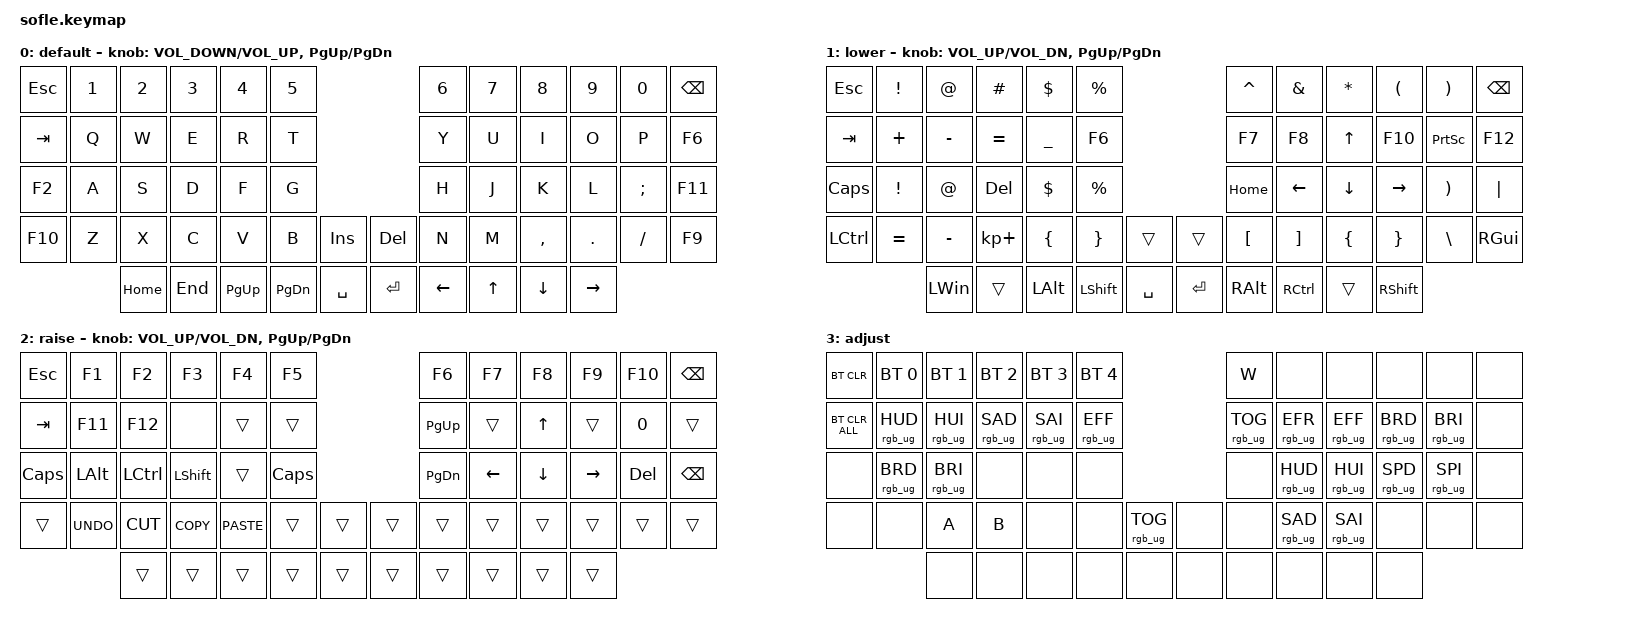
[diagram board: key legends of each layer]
/*
 * Copyright (c) 2020 The ZMK Contributors
 *
 * SPDX-License-Identifier: MIT
 */

#include <behaviors.dtsi>
#include <dt-bindings/zmk/bt.h>
#include <dt-bindings/zmk/keys.h>
#include <dt-bindings/zmk/rgb.h>

#define BASE 0
#define LOWER 1
#define RAISE 2
#define ADJUST 3

/ {
    // Activate ADJUST layer by pressing raise and lower

    conditional_layers {
        compatible = "zmk,conditional-layers";

        adjust_layer {
            if-layers = <LOWER RAISE>;
            then-layer = <ADJUST>;
        };
    };

    keymap {
        compatible = "zmk,keymap";

        default_layer {
            label = "default";

            // ------------------------------------------------------------------------------------------------------------
            // |   `   |  1  |  2  |  3   |  4   |  5   |                   |  6   |  7    |  8    |  9   |   0   |       |
            // |  ESC  |  Q  |  W  |  E   |  R   |  T   |                   |  Y   |  U    |  I    |  O   |   P   | BKSPC |
            // |  TAB  |  A  |  S  |  D   |  F   |  G   |                   |  H   |  J    |  K    |  L   |   ;   |   '   |
            // | SHIFT |  Z  |  X  |  C   |  V   |  B   |  MUTE  |  |       |  N   |  M    |  ,    |  .   |   /   | SHIFT |
            //               | GUI | ALT  | CTRL | LOWER|  ENTER |  | SPACE | RAISE| CTRL  | ALT   | GUI  |

            bindings = <
&kp ESC  &kp N1  &kp N2    &kp N3   &kp N4     &kp N5                                   &kp N6    &kp N7        &kp N8     &kp N9     &kp N0    &kp BACKSPACE
&kp TAB  &kp Q   &kp W     &kp E    &kp R      &kp T                                    &kp Y     &kp U         &kp I      &kp O      &kp P     &kp F6
&kp F2   &kp A   &kp S     &kp D    &kp F      &kp G                                    &kp H     &kp J         &kp K      &kp L      &kp SEMI  &kp F11
&kp F10  &kp Z   &kp X     &kp C    &kp V      &kp B          &kp INSERT    &kp DELETE  &kp N     &kp M         &kp COMMA  &kp DOT    &kp FSLH  &kp F9
                 &kp HOME  &kp END  &kp PG_UP  &kp PAGE_DOWN  &kp SPACE     &kp ENTER   &kp LEFT  &kp UP_ARROW  &kp DOWN   &kp RIGHT
            >;

            sensor-bindings =
                <&inc_dec_kp K_VOLUME_DOWN C_VOLUME_UP>,
                <&inc_dec_kp PG_UP PG_DN>;
        };

        lower_layer {
            label = "lower";

            // TODO: Some binds are waiting for shifted keycode support.
            // ------------------------------------------------------------------------------------------------------------
            // |       |  F1 |  F2 |  F3  |  F4  |  F5  |                   |  F6  |  F7   |  F8   |  F9  |  F10  |  F11  |
            // |   `   |  1  |  2  |  3   |  4   |  5   |                   |  6   |  7    |  8    |  9   |   0   |  F12  |
            // |       |  !  |  @  |  #   |  $   |  %   |                   |  ^   |  &    |  *    |  (   |   )   |   |   |
            // |       |  =  |  -  |  +   |  {   |  }   |        |  |       |  [   |  ]    |  ;    |  :   |   \   |       |
            //               |     |      |      |      |        |  |       |      |       |       |      |

            bindings = <
&kp ESC    &kp EXCLAMATION  &kp AT_SIGN   &kp HASH     &kp DOLLAR      &kp PERCENT                             &kp CARET      &kp AMPERSAND  &kp ASTERISK    &kp LEFT_PARENTHESIS  &kp RIGHT_PARENTHESIS  &kp BACKSPACE
&kp TAB    &kp PLUS         &kp MINUS     &kp EQUAL    &kp UNDERSCORE  &kp F6                                  &kp F7         &kp F8         &kp UP_ARROW    &kp F10               &kp PRINTSCREEN        &kp F12
&kp CAPS   &kp EXCL         &kp AT        &kp DELETE   &kp DLLR        &kp PRCNT                               &kp HOME       &kp LEFT       &kp DOWN        &kp RIGHT             &kp RPAR               &kp PIPE
&kp LCTRL  &kp EQUAL        &kp MINUS     &kp KP_PLUS  &kp LBRC        &kp RBRC        &trans       &trans     &kp LBKT       &kp RBKT       &kp LEFT_BRACE  &kp RIGHT_BRACE       &kp BSLH               &kp RIGHT_GUI
                            &kp LEFT_WIN  &trans       &kp LEFT_ALT    &kp LEFT_SHIFT  &kp SPACE    &kp ENTER  &kp RIGHT_ALT  &kp RCTRL      &trans          &kp RIGHT_SHIFT
            >;

            sensor-bindings = <&inc_dec_kp C_VOL_UP C_VOL_DN &inc_dec_kp PG_UP PG_DN>;
        };

        raise_layer {
            label = "raise";

            // ------------------------------------------------------------------------------------------------------------
            // | BTCLR | BT1  | BT2  |  BT3  |  BT4  |  BT5 |                |      |      |       |      |       |       |
            // |       | INS  | PSCR | GUI   |       |      |                | PGUP |      |   ^   |      |       |       |
            // |       | ALT  | CTRL | SHIFT |       | CAPS |                | PGDN |   <- |   v   |  ->  |  DEL  | BKSPC |
            // |       | UNDO | CUT  | COPY  | PASTE |      |      |  |      |      |      |       |      |       |       |
            //                |      |       |       |      |      |  |      |      |      |       |      |

            bindings = <
&kp ESCAPE    &kp F1      &kp F2     &kp F3      &kp F4       &kp F5                      &kp F6     &kp F7    &kp F8    &kp F9     &kp F10  &kp BACKSPACE
&kp TAB       &kp F11     &kp F12    &none       &trans       &trans                      &kp PG_UP  &trans    &kp UP    &trans     &kp N0   &trans
&kp CAPSLOCK  &kp LALT    &kp LCTRL  &kp LSHFT   &trans       &kp CLCK                    &kp PG_DN  &kp LEFT  &kp DOWN  &kp RIGHT  &kp DEL  &kp BSPC
&trans        &kp K_UNDO  &kp K_CUT  &kp K_COPY  &kp K_PASTE  &trans    &trans    &trans  &trans     &trans    &trans    &trans     &trans   &trans
                          &trans     &trans      &trans       &trans    &trans    &trans  &trans     &trans    &trans    &trans
            >;

            sensor-bindings = <&inc_dec_kp C_VOL_UP C_VOL_DN &inc_dec_kp PG_UP PG_DN>;
        };

        adjust_layer {
            // ----------------------------------------------------------------------------------------------------------------------------
            // | BTCLR  |  BT1    |  BT2    |   BT3   |   BT4   |   BT5   |                  |      |      |       |      |       |       |
            // | EXTPWR | RGB_HUD | RGB_HUI | RGB_SAD | RGB_SAI | RGB_EFF |                  |      |      |       |      |       |       |
            // |        | RGB_BRD | RGB_BRI |         |         |         |                  |      |      |       |      |       |       |
            // |        |         |         |         |         |         | RGB_TOG | |      |      |      |       |      |       |       |
            //                    |         |         |         |         |         | |      |      |      |       |      |

            label = "adjust";
            bindings = <
&bt BT_CLR      &bt BT_SEL 0     &bt BT_SEL 1     &bt BT_SEL 2     &bt BT_SEL 3     &bt BT_SEL 4                               &kp W            &none            &none            &none            &none            &none
&bt BT_CLR_ALL  &rgb_ug RGB_HUD  &rgb_ug RGB_HUI  &rgb_ug RGB_SAD  &rgb_ug RGB_SAI  &rgb_ug RGB_EFF                            &rgb_ug RGB_TOG  &rgb_ug RGB_EFR  &rgb_ug RGB_EFF  &rgb_ug RGB_BRD  &rgb_ug RGB_BRI  &none
&none           &rgb_ug RGB_BRD  &rgb_ug RGB_BRI  &none            &none            &none                                      &none            &rgb_ug RGB_HUD  &rgb_ug RGB_HUI  &rgb_ug RGB_SPD  &rgb_ug RGB_SPI  &none
&none           &none            &kp A            &kp B            &none            &none            &rgb_ug RGB_TOG    &none  &none            &rgb_ug RGB_SAD  &rgb_ug RGB_SAI  &none            &none            &none
                                 &none            &none            &none            &none            &none              &none  &none            &none            &none            &none
            >;
        };
    };
};
